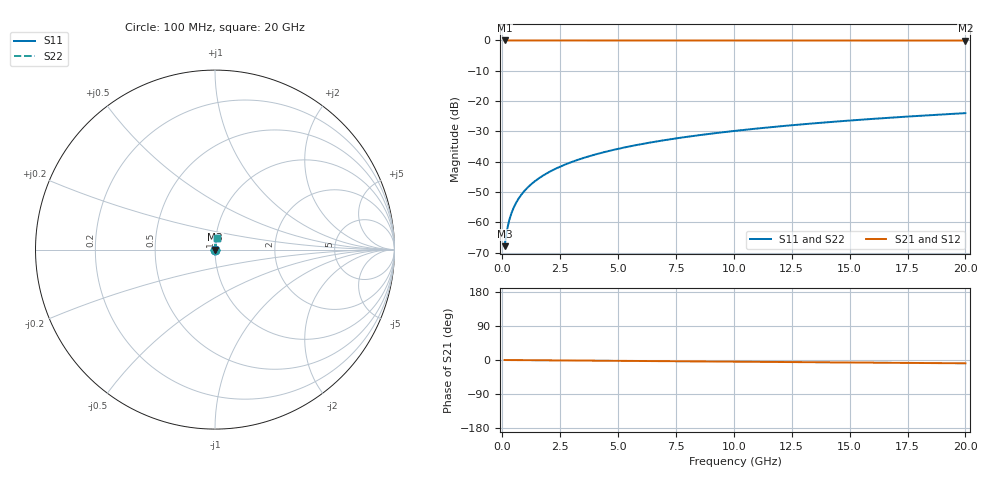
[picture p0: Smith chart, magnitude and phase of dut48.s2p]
! Touchstone file exported from HFSS 2026.1.0
!  File:  C:/ffzhzh/LocalFiles/Ansys_Project_Files/temp_train_TSV_48_1782958725_15332.aedt
!  Generated:  10:20:36 AM Jul  2, 2026
!  Design:  TSV
!  Project:  temp_train_TSV_48_1782958725_15332
! Variables:
!  h_bsmrdl = 2um
!  h_ox = 20um
!  h_rdl = 5um
!  h_sub = 74.69um
!  h_tmrdl = 5um
!  h_tsv = 74.69um
!  h_via = 3um
!  l_bsmrdl = 300um
!  l_sub = 414.8um
!  l_tmrdl = 200um
!  m_sub = 200um
!  pitch = 53.9um
!  r_tsv = 7.4um
!  s_tmrdl = 10um
!  w_bsmrdl = 18um
!  w_sub = 500um
!  w_tmrdl = 12um
!  x_tsv_center1 = 206um
!  x_tsv_center2 = 524um
!  x_tsv_center3 = 736um
!  x_tsv_center4 = 1054um
!  x_tsv_center5 = 1266um
!  x_tsv_center6 = 1584um
# GHz S MA R 50.000000
! Terminal data exported
! Port[1] = TSV1_1_T1
! Port[2] = TSV1_1_T2
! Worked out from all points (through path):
!   200 points, 100 MHz to 20 GHz, reference 50 ohm
!   highest |S21| = 0.00 dB at 100 MHz (marker M1); lowest = 0.0 dB at 20 GHz (marker M2)
!   group delay of S21, straight-line fit = 1.21 ps
!   lowest |S11| = -67.8 dB at 100 MHz (marker M3), VSWR 1.00, Z = 50 + j0.0358 ohm
!   |S11| at or under -10 dB: start of sweep to end of sweep
!   |S22| runs from -67.8 to -24.0 dB; largest |S21 - S12| = 6.2e-15
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0.1  0.0004051 62.0  0.9998 -0.0  0.9998 -0.0  0.0004051 62.0
! Gamma 0 0 0 0
! Port Impedance 50 0 50 0
0.2  0.0007409 74.3  0.9998 -0.1  0.9998 -0.1  0.0007409 74.3
0.3  0.001088 78.6  0.9998 -0.1  0.9998 -0.1  0.001088 78.6
0.4  0.001434 80.6  0.9998 -0.2  0.9998 -0.2  0.001434 80.6
0.5  0.001777 81.7  0.9997 -0.2  0.9997 -0.2  0.001777 81.7
0.6  0.002117 82.4  0.9997 -0.3  0.9997 -0.3  0.002117 82.4
0.7  0.002453 82.9  0.9997 -0.3  0.9997 -0.3  0.002453 82.9
0.8  0.002787 83.2  0.9997 -0.4  0.9997 -0.4  0.002787 83.2
1  0.003446 83.7  0.9996 -0.5  0.9996 -0.5  0.003446 83.7
1.4  0.004749 84.4  0.9996 -0.6  0.9996 -0.6  0.004749 84.4
1.7  0.005719 84.8  0.9995 -0.8  0.9995 -0.8  0.005719 84.8
2  0.006688 85.0  0.9995 -0.9  0.9995 -0.9  0.006688 85.0
2.7  0.008945 85.3  0.9994 -1.2  0.9994 -1.2  0.008945 85.3
3.5  0.01152 85.4  0.9993 -1.6  0.9993 -1.6  0.01152 85.4
4.2  0.01376 85.4  0.9992 -1.9  0.9992 -1.9  0.01376 85.4
5  0.01631 85.2  0.9991 -2.2  0.9991 -2.2  0.01631 85.2
6.8  0.02203 84.8  0.9989 -3.0  0.9989 -3.0  0.02203 84.8
8.3  0.02677 84.3  0.9987 -3.7  0.9987 -3.7  0.02677 84.3
10.1  0.03244 83.7  0.9984 -4.4  0.9984 -4.4  0.03244 83.7
13.4  0.04279 82.5  0.9979 -5.9  0.9979 -5.9  0.04279 82.5
16.7  0.05307 81.3  0.9973 -7.3  0.9973 -7.3  0.05307 81.3
20  0.06327 79.9  0.9965 -8.7  0.9965 -8.7  0.06327 79.9
